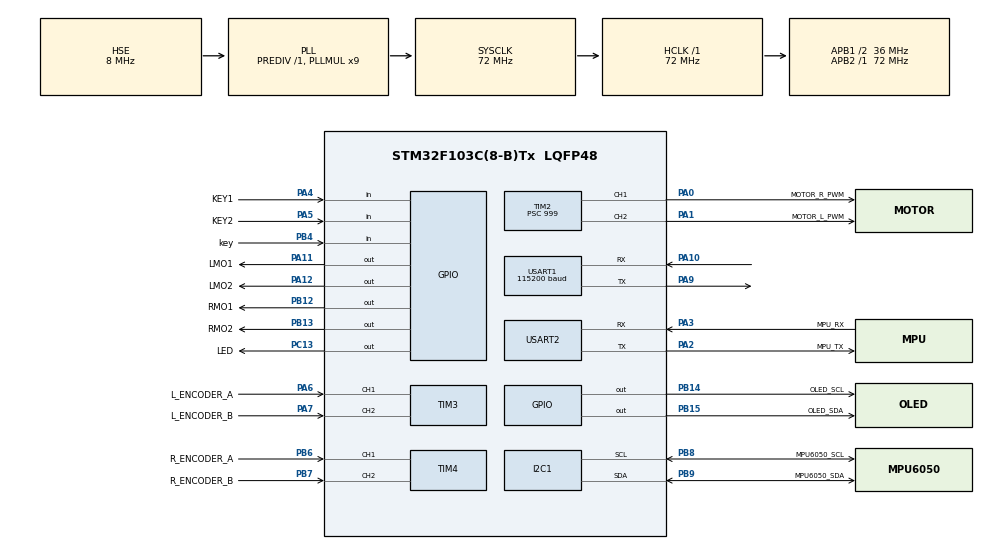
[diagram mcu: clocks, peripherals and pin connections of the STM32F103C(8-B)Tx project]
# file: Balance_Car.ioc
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Mcu.Family=STM32F1
Mcu.Name=STM32F103C(8-B)Tx
Mcu.Package=LQFP48
NVIC.PriorityGroup=NVIC_PRIORITYGROUP_4
NVIC.TIM2_IRQn=true\:0\:0\:true\:false\:true\:true\:true\:true
NVIC.TIM3_IRQn=true\:0\:0\:false\:false\:true\:true\:true\:true
NVIC.TIM4_IRQn=true\:0\:0\:false\:false\:true\:true\:true\:true
NVIC.USART1_IRQn=true\:0\:0\:true\:false\:true\:true\:true\:true
NVIC.USART2_IRQn=true\:0\:0\:false\:false\:true\:true\:true\:true
PA0-WKUP.GPIO_Label=MOTOR_R_PWM
PA0-WKUP.Signal=S_TIM2_CH1_ETR
PA1.GPIO_Label=MOTOR_L_PWM
PA1.Signal=S_TIM2_CH2
PA10.Mode=Asynchronous
PA10.Signal=USART1_RX
PA11.GPIO_Label=LMO1
PA11.GPIO_PuPd=GPIO_PULLDOWN
PA11.Signal=GPIO_Output
PA12.GPIO_Label=LMO2
PA12.GPIO_PuPd=GPIO_PULLDOWN
PA12.Signal=GPIO_Output
PA13.Mode=Serial_Wire
PA13.Signal=SYS_JTMS-SWDIO
PA14.Mode=Serial_Wire
PA14.Signal=SYS_JTCK-SWCLK
PA2.GPIO_Label=MPU_TX
PA2.Mode=Asynchronous
PA2.Signal=USART2_TX
PA3.GPIO_Label=MPU_RX
PA3.Mode=Asynchronous
PA3.Signal=USART2_RX
PA4.GPIO_Label=KEY1
PA4.GPIO_PuPd=GPIO_PULLUP
PA4.Signal=GPIO_Input
PA5.GPIO_Label=KEY2
PA5.GPIO_PuPd=GPIO_PULLUP
PA5.Signal=GPIO_Input
PA6.GPIO_Label=L_ENCODER_A
PA6.GPIO_PuPd=GPIO_PULLUP
PA6.Signal=S_TIM3_CH1
PA7.GPIO_Label=L_ENCODER_B
PA7.GPIO_PuPd=GPIO_PULLUP
PA7.Signal=S_TIM3_CH2
PA9.Mode=Asynchronous
PA9.Signal=USART1_TX
PB12.GPIO_Label=RMO1
PB12.GPIO_PuPd=GPIO_PULLDOWN
PB12.Signal=GPIO_Output
PB13.GPIO_Label=RMO2
PB13.GPIO_PuPd=GPIO_PULLDOWN
PB13.PinState=GPIO_PIN_RESET
PB13.Signal=GPIO_Output
PB14.GPIO_Label=OLED_SCL
PB14.Signal=GPIO_Output
PB15.GPIO_Label=OLED_SDA
PB15.Signal=GPIO_Output
PB4.GPIO_Label=key
PB4.GPIO_PuPd=GPIO_PULLUP
PB4.Signal=GPIO_Input
PB6.GPIO_Label=R_ENCODER_A
PB6.GPIO_PuPd=GPIO_PULLUP
PB6.Signal=S_TIM4_CH1
PB7.GPIO_Label=R_ENCODER_B
PB7.GPIO_PuPd=GPIO_PULLUP
PB7.Signal=S_TIM4_CH2
PB8.GPIO_Label=MPU6050_SCL
PB8.GPIO_Pu=GPIO_PULLUP
PB8.Mode=I2C
PB8.Signal=I2C1_SCL
PB9.GPIO_Label=MPU6050_SDA
PB9.GPIO_Pu=GPIO_PULLUP
PB9.Mode=I2C
PB9.Signal=I2C1_SDA
PC13-TAMPER-RTC.GPIO_Label=LED
PC13-TAMPER-RTC.PinState=GPIO_PIN_SET
PC13-TAMPER-RTC.Signal=GPIO_Output
PC14-OSC32_IN.Mode=LSE-External-Oscillator
PC14-OSC32_IN.Signal=RCC_OSC32_IN
PC15-OSC32_OUT.Mode=LSE-External-Oscillator
PC15-OSC32_OUT.Signal=RCC_OSC32_OUT
PD0-OSC_IN.Mode=HSE-External-Oscillator
PD0-OSC_IN.Signal=RCC_OSC_IN
PD1-OSC_OUT.Mode=HSE-External-Oscillator
PD1-OSC_OUT.Signal=RCC_OSC_OUT
ProjectManager.HeapSize=0x200
ProjectManager.StackSize=0x400
ProjectManager.TargetToolchain=STM32CubeIDE
RCC.AHBFreq_Value=72000000
RCC.APB1CLKDivider=RCC_HCLK_DIV2
RCC.APB1Freq_Value=36000000
RCC.APB1TimFreq_Value=72000000
RCC.APB2Freq_Value=72000000
RCC.APB2TimFreq_Value=72000000
RCC.HCLKFreq_Value=72000000
RCC.PLLMUL=RCC_PLL_MUL9
RCC.PLLSourceVirtual=RCC_PLLSOURCE_HSE
RCC.SYSCLKFreq_VALUE=72000000
RCC.SYSCLKSource=RCC_SYSCLKSOURCE_PLLCLK
RCC.USBFreq_Value=72000000
SH.S_TIM2_CH1_ETR.0=TIM2_CH1,PWM Generation1 CH1
SH.S_TIM2_CH2.0=TIM2_CH2,PWM Generation2 CH2
SH.S_TIM3_CH1.0=TIM3_CH1,Encoder_Interface
SH.S_TIM3_CH2.0=TIM3_CH2,Encoder_Interface
SH.S_TIM4_CH1.0=TIM4_CH1,Encoder_Interface
SH.S_TIM4_CH2.0=TIM4_CH2,Encoder_Interface
TIM2.Channel-PWM\ Generation1\ CH1=TIM_CHANNEL_1
TIM2.Channel-PWM\ Generation2\ CH2=TIM_CHANNEL_2
TIM2.Period=71
TIM2.Prescaler=999
TIM3.AutoReloadPreload=TIM_AUTORELOAD_PRELOAD_DISABLE
TIM3.CounterMode=TIM_COUNTERMODE_UP
TIM3.EncoderMode=TIM_ENCODERMODE_TI12
TIM3.IC1Filter=6
TIM3.IC1Polarity=TIM_ICPOLARITY_RISING
TIM3.IC2Filter=6
TIM3.IC2Polarity=TIM_ICPOLARITY_RISING
TIM3.TIM_MasterSlaveMode=TIM_MASTERSLAVEMODE_DISABLE
TIM4.EncoderMode=TIM_ENCODERMODE_TI12
TIM4.IC1Filter=6
TIM4.IC2Filter=6
USART1.BaudRate=115200
USART1.VirtualMode=VM_ASYNC
USART2.VirtualMode=VM_ASYNC
VP_TIM2_VS_ClockSourceINT.Mode=Internal
board=custom

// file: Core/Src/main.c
/* USER CODE BEGIN Header */
/**
  ******************************************************************************
  * @file           : main.c
  * @brief          : Main program body
  ******************************************************************************
  * @attention
  *
  * Copyright (c) 2022 STMicroelectronics.
  * All rights reserved.
  *
  * This software is licensed under terms that can be found in the LICENSE file
  * in the root directory of this software component.
  * If no LICENSE file comes with this software, it is provided AS-IS.
  *
  ******************************************************************************
  */
/* USER CODE END Header */
#include "main.h"
#include "i2c.h"
#include "tim.h"
#include "usart.h"
#include "gpio.h"

/* USER CODE BEGIN Includes */
#include "encoder.h"
#include "oled.h"
#include "oledshow.h"
#include "stdio.h"
#include "motor.h"
#include "jy61.h"
#include "PID.h"
#include "Speed_Ring_PID.h"
#include "key.h"
//#include "jy61.h"
/* USER CODE END Includes */

void SystemClock_Config(void);

/* USER CODE BEGIN 0 */

uint8_t R_Encoder_Speed_Judge;	//判断是否进入右轮电机测�?�程序（0/1�?????????????????????????????
uint8_t L_Encoder_Speed_Judge;	//判断是否进入左轮电机测�?�程序（0/1�?????????????????????????????
uint32_t Tim2_Count_0_001;	//TIM2执行的次�????????????????????????????
uint8_t Judge=0;

uint8_t TX_Angle[]="Angle=";
extern uint8_t Jy61_Rx;

void HAL_TIM_PeriodElapsedCallback(TIM_HandleTypeDef *htim)	//定时器执行程序函 ?
{
	if(htim->Instance == TIM2)
	{
		Tim2_Count_0_001++;	//�?????????????????????????????0.001s�?????????????????????????????要执行的程序
		pid.PID_1ms++;
		sp_pid.Speed_Ring_1ms++;

		if(Tim2_Count_0_001>=20)
		{
			R_Encoder_Speed_Judge=1;
			L_Encoder_Speed_Judge=1;
			Tim2_Count_0_001=0;
		}
	}
}

void HAL_UART_RxCpltCallback(UART_HandleTypeDef*huart)
{
	if(huart->Instance==USART2)		//判断UART2有数据接收到
	{
		Jy61_RXData();
	}
	HAL_UART_Receive_IT(&huart2, &Jy61_Rx, 1);
}

/* USER CODE END 0 */

int main(void)
{

  /* MCU Configuration--------------------------------------------------------*/

  /* Reset of all peripherals, Initializes the Flash interface and the Systick. */
  HAL_Init();

  /* Configure the system clock */
  SystemClock_Config();

  /* Initialize all configured peripherals */
  MX_GPIO_Init();
  MX_TIM2_Init();
  MX_TIM3_Init();
  MX_TIM4_Init();
  MX_USART1_UART_Init();
  MX_I2C1_Init();
  MX_USART2_UART_Init();
  /* USER CODE BEGIN 2 */

  HAL_TIM_Encoder_Start(&htim3, TIM_CHANNEL_1);
  HAL_TIM_Encoder_Start(&htim3, TIM_CHANNEL_2);
  HAL_TIM_Encoder_Start(&htim4, TIM_CHANNEL_1);
  HAL_TIM_Encoder_Start(&htim4, TIM_CHANNEL_2);
  HAL_TIM_Base_Start_IT(&htim2);
  HAL_TIM_PWM_Start(&htim2, TIM_CHANNEL_1);
  HAL_TIM_PWM_Start(&htim2, TIM_CHANNEL_2);

  OLED_Init();
  OLED_Display_On();
  OLED_DisplayTurn(1);
  OLED_Clear();

  HAL_UART_Receive_IT(&huart2,&Jy61_Rx,1);

  PID_Init();
  Speed_Ring_PID_Init();

  HAL_Delay(1000);
  HAL_GPIO_WritePin(GPIOC, GPIO_PIN_13, GPIO_PIN_SET);
  /* USER CODE END 2 */

  /* Infinite loop */
  /* USER CODE BEGIN WHILE */
  while (1)
  {
	  OLED_Show();
	  PID_Control();
	  Key_Scan();
    /* USER CODE END WHILE */

  }
}

void SystemClock_Config(void)
{
  RCC_OscInitTypeDef RCC_OscInitStruct = {0};
  RCC_ClkInitTypeDef RCC_ClkInitStruct = {0};

  /** Initializes the RCC Oscillators according to the specified parameters
  * in the RCC_OscInitTypeDef structure.
  */
  RCC_OscInitStruct.OscillatorType = RCC_OSCILLATORTYPE_HSE;
  RCC_OscInitStruct.HSEState = RCC_HSE_ON;
  RCC_OscInitStruct.HSEPredivValue = RCC_HSE_PREDIV_DIV1;
  RCC_OscInitStruct.HSIState = RCC_HSI_ON;
  RCC_OscInitStruct.PLL.PLLState = RCC_PLL_ON;
  RCC_OscInitStruct.PLL.PLLSource = RCC_PLLSOURCE_HSE;
  RCC_OscInitStruct.PLL.PLLMUL = RCC_PLL_MUL9;
  if (HAL_RCC_OscConfig(&RCC_OscInitStruct) != HAL_OK)
  {
    Error_Handler();
  }

  /** Initializes the CPU, AHB and APB buses clocks
  */
  RCC_ClkInitStruct.ClockType = RCC_CLOCKTYPE_HCLK|RCC_CLOCKTYPE_SYSCLK
                              |RCC_CLOCKTYPE_PCLK1|RCC_CLOCKTYPE_PCLK2;
  RCC_ClkInitStruct.SYSCLKSource = RCC_SYSCLKSOURCE_PLLCLK;
  RCC_ClkInitStruct.AHBCLKDivider = RCC_SYSCLK_DIV1;
  RCC_ClkInitStruct.APB1CLKDivider = RCC_HCLK_DIV2;
  RCC_ClkInitStruct.APB2CLKDivider = RCC_HCLK_DIV1;

  if (HAL_RCC_ClockConfig(&RCC_ClkInitStruct, FLASH_LATENCY_2) != HAL_OK)
  {
    Error_Handler();
  }
}

void Error_Handler(void)
{
  __disable_irq();
  while (1)
  {
  }
}
